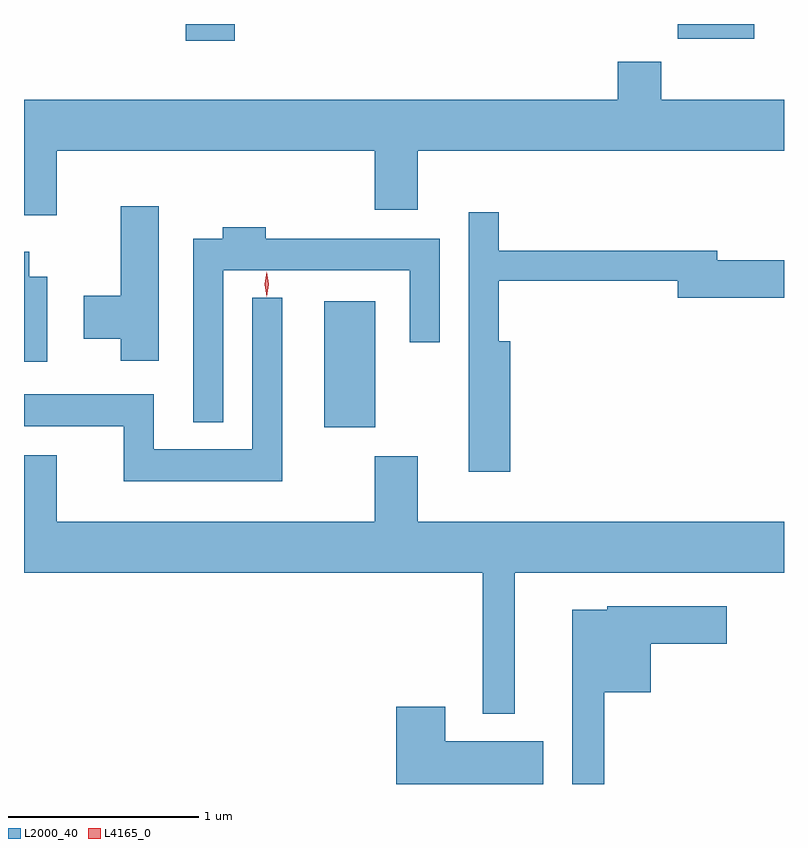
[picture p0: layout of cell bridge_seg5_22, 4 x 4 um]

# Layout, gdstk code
import gdstk
lib = gdstk.Library(unit=1e-6, precision=1e-09)
def R(c, l, rs):  # rectangles x0, y0, x1, y1
    for r in rs: c.add(gdstk.rectangle(r[:2], r[2:], *l))
def P(c, l, *ps):  # polygons
    for p in ps: c.add(gdstk.Polygon(p, *l))
L2000_40 = (2000, 40)
L4165_0 = (4165, 0)

bridge_seg5_22 = lib.new_cell('bridge_seg5_22')
R(bridge_seg5_22, L2000_40, [(1265.686,1470.881,1265.954,1471.544), (1264.956,1472.916,1265.214,1473.003), (1267.546,1472.926,1267.949,1473.003)])
P(bridge_seg5_22, L2000_40, [(1264.279,1472.336),(1265.951,1472.336),(1265.951,1472.026),(1266.179,1472.026),(1266.179,1472.336),(1268.106,1472.336),(1268.106,1472.604),(1267.459,1472.604),(1267.459,1472.804),(1267.231,1472.804),(1267.231,1472.604),(1264.106,1472.604),(1264.106,1471.996),(1264.279,1471.996)],
  [(1264.814,1472.044),(1264.616,1472.044),(1264.616,1471.574),(1264.421,1471.574),(1264.421,1471.346),(1264.616,1471.346),(1264.616,1471.231),(1264.814,1471.231)],
  [(1266.664,1471.334),(1266.604,1471.334),(1266.604,1471.651),(1267.546,1471.651),(1267.546,1471.561),(1268.106,1471.561),(1268.106,1471.759),(1267.754,1471.759),(1267.754,1471.809),(1266.604,1471.809),(1266.604,1472.013),(1266.446,1472.013),(1266.446,1470.646),(1266.664,1470.646)],
  [(1265.154,1471.706),(1266.136,1471.706),(1266.136,1471.328),(1266.294,1471.328),(1266.294,1471.874),(1265.379,1471.874),(1265.379,1471.934),(1265.151,1471.934),(1265.151,1471.874),(1264.996,1471.874),(1264.996,1470.908),(1265.154,1470.908)],
  [(1264.229,1471.674),(1264.134,1471.674),(1264.134,1471.804),(1264.106,1471.804),(1264.106,1471.226),(1264.229,1471.226)],
  [(1265.464,1471.563),(1265.306,1471.563),(1265.306,1470.764),(1264.789,1470.764),(1264.789,1471.054),(1264.106,1471.054),(1264.106,1470.886),(1264.631,1470.886),(1264.631,1470.596),(1265.464,1470.596)],
  [(1266.689,1470.116),(1268.106,1470.116),(1268.106,1470.384),(1266.179,1470.384),(1266.179,1470.729),(1265.951,1470.729),(1265.951,1470.384),(1264.279,1470.384),(1264.279,1470.734),(1264.106,1470.734),(1264.106,1470.116),(1266.521,1470.116),(1266.521,1469.373),(1266.689,1469.373)],
  [(1267.159,1469.486),(1267.404,1469.486),(1267.404,1469.741),(1267.804,1469.741),(1267.804,1469.939),(1267.176,1469.939),(1267.176,1469.919),(1266.991,1469.919),(1266.991,1469.003),(1267.159,1469.003)],
  [(1266.839,1469.229),(1266.324,1469.229),(1266.324,1469.409),(1266.066,1469.409),(1266.066,1469.003),(1266.839,1469.003)])
P(bridge_seg5_22, L4165_0, [(1265.384,1471.567),(1265.383,1471.568),(1265.373,1471.634),(1265.383,1471.7),(1265.383,1471.7),(1265.384,1471.7),(1265.394,1471.634),(1265.384,1471.568)])

lib.write_gds('bridge_seg5_22.gds')
